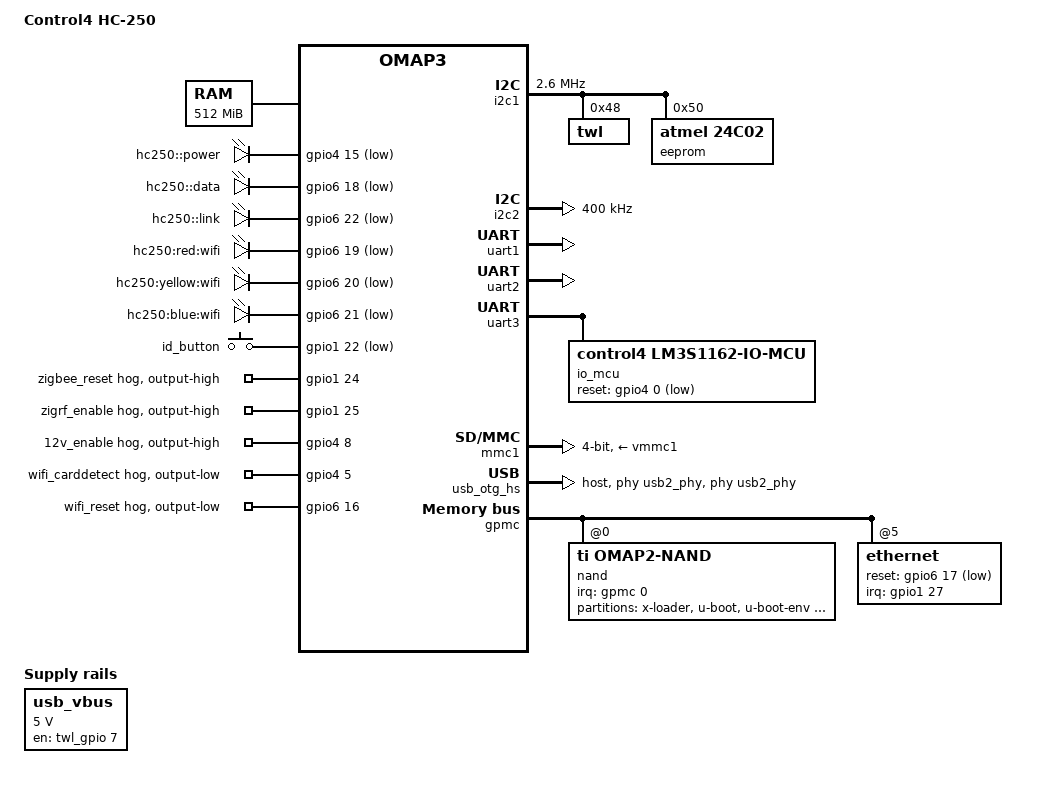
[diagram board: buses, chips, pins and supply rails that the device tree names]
// SPDX-License-Identifier: GPL-2.0
/*
 * Control4 HC-250 ("magneto"): OMAP36xx (DM3730 class), TPS65950, 512 MB,
 * 512 MB NAND, LAN9220, LM3S1162 IO-MCU, EM357 Zigbee.
 *
 * Pads stay as stock U-Boot muxed them; no board pinctrl yet.
 * GPIOs read off a stock unit (/sys/kernel/debug/gpio, /dev/gpio).
 * Docs: https://the1truejoe.github.io/openHC/hc250/
 */
/dts-v1/;

#include <dt-bindings/gpio/gpio.h>
#include <dt-bindings/input/input.h>
#include <dt-bindings/interrupt-controller/irq.h>
#include <dt-bindings/gpio/control4,io-mcu.h>
#include "ti/omap/omap36xx.dtsi"

/ {
	model = "Control4 HC-250";
	compatible = "control4,hc250", "ti,omap3630", "ti,omap3";

	chosen {
		stdout-path = "serial0:115200n8";
	};

	memory@80000000 {
		device_type = "memory";
		reg = <0x80000000 0x20000000>;
	};

	leds {
		compatible = "gpio-leds";

		led-power {
			label = "hc250::power";
			gpios = <&gpio4 15 GPIO_ACTIVE_LOW>;		/* gpio111 */
			linux,default-trigger = "default-on";
		};
		led-data {
			label = "hc250::data";
			gpios = <&gpio6 18 GPIO_ACTIVE_LOW>;		/* gpio178 */
		};
		led-link {
			label = "hc250::link";
			gpios = <&gpio6 22 GPIO_ACTIVE_LOW>;		/* gpio182 */
		};
		led-wifi-red {
			label = "hc250:red:wifi";
			gpios = <&gpio6 19 GPIO_ACTIVE_LOW>;		/* gpio179 */
		};
		led-wifi-yellow {
			label = "hc250:yellow:wifi";
			gpios = <&gpio6 20 GPIO_ACTIVE_LOW>;		/* gpio180 */
		};
		led-wifi-blue {
			label = "hc250:blue:wifi";
			gpios = <&gpio6 21 GPIO_ACTIVE_LOW>;		/* gpio181 */
			linux,default-trigger = "heartbeat";
		};
	};

	/* ID button: held at power-on it is U-Boot's USB-script trigger. */
	id-button {
		compatible = "gpio-keys";
		label = "hc250-id-button";

		key-id {
			label = "id_button";
			gpios = <&gpio1 22 GPIO_ACTIVE_LOW>;
			linux,code = <KEY_F5>;
			debounce-interval = <20>;
		};
	};

	/* Rear USB 5 V: TPS2553 enabled by TWL GPIO 7 (U-Boot c4sys usbcheck). */
	usb_vbus: regulator-usb-vbus {
		compatible = "regulator-fixed";
		regulator-name = "usb_vbus";
		regulator-min-microvolt = <5000000>;
		regulator-max-microvolt = <5000000>;
		gpio = <&twl_gpio 7 GPIO_ACTIVE_HIGH>;
		enable-active-high;
		regulator-always-on;
	};
};

&gpio1 {
	gpio-line-names =
		/*  0 */ "", "", "", "", "", "", "", "",
		/*  8 */ "", "", "", "", "", "", "", "",
		/* 16 */ "", "", "", "hdmi_irq", "", "", "id_button", "",
		/* 24 */ "zigbee_reset", "zigrf_enable", "", "eth_irq", "", "", "", "";

	/* Held as the stock OS leaves them: NCP out of reset, RF on. */
	zigbee-reset-hog {
		gpio-hog;
		gpios = <24 GPIO_ACTIVE_HIGH>;
		output-high;
		line-name = "zigbee_reset";
	};
	zigrf-enable-hog {
		gpio-hog;
		gpios = <25 GPIO_ACTIVE_HIGH>;
		output-high;
		line-name = "zigrf_enable";
	};
};

&gpio4 {
	gpio-line-names =
		/*  96 */ "io_reset", "", "", "", "", "wifi_carddetect", "", "",
		/* 104 */ "12v_enable", "", "", "", "", "", "12v_fault", "",
		/* 112 */ "", "", "", "", "", "", "", "",
		/* 120 */ "", "", "", "", "", "", "", "";

	/* Stock tps2533 driver holds this high; its fault input is gpio110. */
	pwr-12v-hog {
		gpio-hog;
		gpios = <8 GPIO_ACTIVE_HIGH>;
		output-high;
		line-name = "12v_enable";
	};
	/* Wi-Fi is off on stock; keep it that way until mmc2 is brought up. */
	wifi-cd-hog {
		gpio-hog;
		gpios = <5 GPIO_ACTIVE_HIGH>;
		output-low;
		line-name = "wifi_carddetect";
	};
};

&gpio6 {
	gpio-line-names =
		/* 160 */ "", "", "", "", "", "", "", "",
		/* 168 */ "", "", "", "", "", "", "", "",
		/* 176 */ "wifi_reset", "eth_reset", "", "", "", "", "", "",
		/* 184 */ "", "", "", "", "", "", "", "";

	wifi-reset-hog {
		gpio-hog;
		gpios = <16 GPIO_ACTIVE_HIGH>;
		output-low;
		line-name = "wifi_reset";
	};
};

&i2c1 {
	clock-frequency = <2600000>;

	twl: twl@48 {
		reg = <0x48>;
		interrupts = <7>;		/* SYS_NIRQ */
		interrupt-parent = <&intc>;
	};

	/* c4sys boot counters (0-5) and the MAC (8-13). Never written. */
	eeprom@50 {
		compatible = "atmel,24c02";
		reg = <0x50>;
		pagesize = <8>;
		read-only;
	};
};

#include "ti/omap/twl4030.dtsi"
#include "ti/omap/twl4030_omap3.dtsi"

/* THS8200 @21 and ADV7513 @39; video is not described yet. */
&i2c2 {
	clock-frequency = <400000>;
};

&i2c3 {
	status = "disabled";
};

/* Console. */
&uart1 {
	status = "okay";
};

/* EM357 Zigbee NCP, on the McBSP3 pads with RTS/CTS. */
&uart2 {
	uart-has-rtscts;
	status = "okay";
};

/* LM3S1162 IO-MCU. Pins: docs shared/io-mcu-pinmap (stock LM3S block 1). */
&uart3 {
	status = "okay";

	io_mcu: io-mcu {
		compatible = "control4,lm3s1162-io-mcu", "control4,io-mcu";
		current-speed = <115200>;
		reset-gpios = <&gpio4 0 GPIO_ACTIVE_LOW>;	/* gpio96 io_reset */
		control4,ir-carriers = <IOMCU_PORT_D 1>, <IOMCU_PORT_F 3>;
		control4,ir-gates-active-low;
		control4,hold-low-pins = <IOMCU_PORT_F 4>, <IOMCU_PORT_F 5>,
					 <IOMCU_PORT_A 7>, <IOMCU_PORT_A 6>;
		control4,heartbeat-pin = <IOMCU_PORT_F 1>;
		#address-cells = <1>;
		#size-cells = <0>;

		/* Jack 1 = UART1, jack 2 = UART2: inferred, not yet probed. */
		jack@1 {
			reg = <1>;
			label = "IR / Serial 1";
			control4,ir-channel = <0>;
			control4,ir-gates = <IOMCU_PORT_C 7 0>, <IOMCU_PORT_C 6 1>;
			control4,uart = <0>;
			control4,uart-pins = <IOMCU_PORT_D 2>, <IOMCU_PORT_D 3>;
			control4,uart-mux-pins = <IOMCU_PORT_B 0>;
		};
		jack@2 {
			reg = <2>;
			label = "IR / Serial 2";
			control4,ir-channel = <1>;
			control4,ir-gates = <IOMCU_PORT_C 5 0>, <IOMCU_PORT_C 4 1>;
			control4,uart = <1>;
			control4,uart-pins = <IOMCU_PORT_G 0>, <IOMCU_PORT_G 1>;
			control4,uart-mux-pins = <IOMCU_PORT_B 1>;
		};
		jack@3 {
			reg = <3>;
			label = "IR 3";
			control4,ir-channel = <2>;
			control4,ir-gates = <IOMCU_PORT_B 4 0>, <IOMCU_PORT_B 5 1>;
		};
		jack@4 {
			reg = <4>;
			label = "IR 4";
			control4,ir-channel = <3>;
			control4,ir-gates = <IOMCU_PORT_B 6 0>, <IOMCU_PORT_F 2 1>;
		};
		ir-blaster {
			control4,ir-channel = <4>;
			control4,ir-gates = <IOMCU_PORT_F 0 0>, <IOMCU_PORT_D 5 1>;
		};
		ir-receiver {
			control4,ir-pin = <IOMCU_PORT_D 4>;
		};

		relays {
			#address-cells = <1>;
			#size-cells = <0>;

			relay@0 {
				reg = <0>;
				label = "Relay 1";
				control4,pin = <IOMCU_PORT_E 0>;
			};
		};

		contacts {
			#address-cells = <1>;
			#size-cells = <0>;

			contact@0 {
				reg = <0>;
				label = "Contact 1";
				control4,pin = <IOMCU_PORT_E 1>;
				control4,active-low;
			};
		};
	};
};

/* Interior SD slot (inferred). CD is TWL GPIO 0 but reads "empty" on stock, so poll. */
&mmc1 {
	vmmc-supply = <&vmmc1>;
	bus-width = <4>;
	broken-cd;
};

/* Broadcom SDIO Wi-Fi behind a level shifter; held in reset for now. */
&mmc2 {
	status = "disabled";
};

&mmc3 {
	status = "disabled";
};

/* Rear USB: MUSB through the TWL4030 PHY, host only. */
&usb_otg_hs {
	interface-type = <0>;
	usb-phy = <&usb2_phy>;
	phys = <&usb2_phy>;
	phy-names = "usb2-phy";
	mode = <1>;
	dr_mode = "host";
	power = <250>;
};

&gpmc {
	ranges = <0 0 0x30000000 0x01000000>,	/* CS0: NAND */
		 <5 0 0x2c000000 0x01000000>;	/* CS5: LAN9220 */

	/* Partitions as stock /proc/mtd + U-Boot env. All read-only. */
	nand@0,0 {
		compatible = "ti,omap2-nand";
		reg = <0 0 4>;
		interrupt-parent = <&gpmc>;
		interrupts = <0 IRQ_TYPE_NONE>, <1 IRQ_TYPE_NONE>;
		nand-bus-width = <16>;
		gpmc,device-width = <2>;
		ti,nand-ecc-opt = "bch4";
		gpmc,sync-clk-ps = <0>;
		gpmc,cs-on-ns = <0>;
		gpmc,cs-rd-off-ns = <44>;
		gpmc,cs-wr-off-ns = <44>;
		gpmc,adv-on-ns = <6>;
		gpmc,adv-rd-off-ns = <34>;
		gpmc,adv-wr-off-ns = <44>;
		gpmc,we-off-ns = <40>;
		gpmc,oe-off-ns = <54>;
		gpmc,access-ns = <64>;
		gpmc,rd-cycle-ns = <82>;
		gpmc,wr-cycle-ns = <82>;
		gpmc,wr-access-ns = <40>;
		gpmc,wr-data-mux-bus-ns = <0>;

		partitions {
			compatible = "fixed-partitions";
			#address-cells = <1>;
			#size-cells = <1>;

			partition@0 {
				label = "x-loader";
				reg = <0x00000000 0x00080000>;
				read-only;
			};
			partition@80000 {
				label = "u-boot";
				reg = <0x00080000 0x00200000>;
				read-only;
			};
			partition@280000 {
				label = "u-boot-env";
				reg = <0x00280000 0x00040000>;
				read-only;
			};
			partition@2c0000 {
				label = "kernel0";
				reg = <0x002c0000 0x00400000>;
				read-only;
			};
			partition@6c0000 {
				label = "rootfs0";
				reg = <0x006c0000 0x08000000>;
				read-only;
			};
			partition@86c0000 {
				label = "recovery-kernel";
				reg = <0x086c0000 0x00400000>;
				read-only;
			};
			partition@8ac0000 {
				label = "recovery-rootfs";
				reg = <0x08ac0000 0x08000000>;
				read-only;
			};
			partition@10ac0000 {
				label = "jffs2";
				reg = <0x10ac0000 0x01800000>;
				read-only;
			};
			partition@122c0000 {
				label = "internal";
				reg = <0x122c0000 0x05060000>;
				read-only;
			};
			partition@17320000 {
				label = "kernel1";
				reg = <0x17320000 0x00400000>;
				read-only;
			};
			partition@17720000 {
				label = "rootfs1";
				reg = <0x17720000 0x08000000>;
				read-only;
			};
			partition@1f720000 {
				label = "logs";
				reg = <0x1f720000 0x00800000>;
				read-only;
			};
			partition@1ff20000 {
				label = "u-boot-env-redund";
				reg = <0x1ff20000 0x00040000>;
				read-only;
			};
		};
	};

	ethernet@gpmc {
		reg = <5 0 0xff>;
		interrupt-parent = <&gpio1>;
		interrupts = <27 IRQ_TYPE_LEVEL_LOW>;		/* gpio27 */
		reset-gpios = <&gpio6 17 GPIO_ACTIVE_LOW>;	/* gpio177 */
	};
};

#include "ti/omap/omap-gpmc-smsc911x.dtsi"
